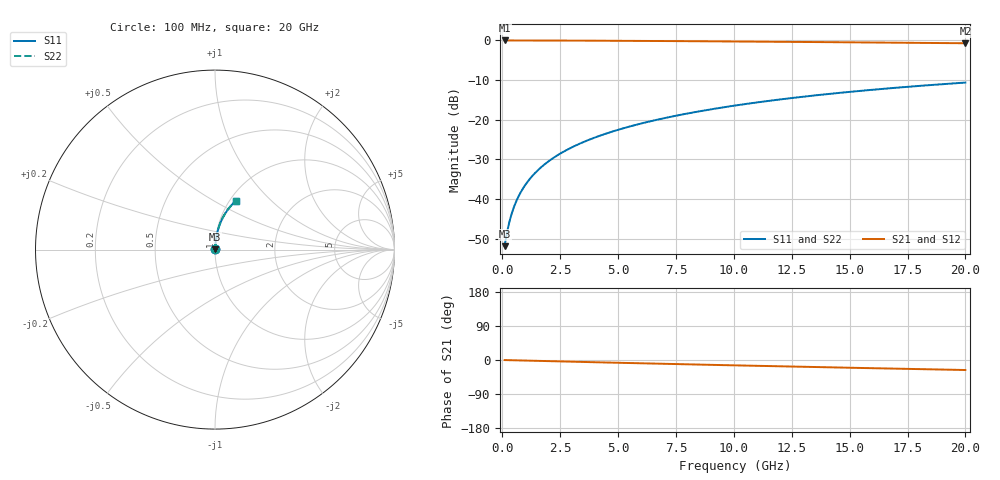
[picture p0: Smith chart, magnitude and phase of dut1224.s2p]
! Touchstone file exported from HFSS 2024.1.0
!  File:  C:/UserFiles/LocalFiles/RDL_TSV_Batchsim/temp_RDL_bottom_1224_1780244269.aedt
!  Generated:  12:20:19 AM Jun  1, 2026
!  Design:  RDL_bottom
!  Project:  temp_RDL_bottom_1224_1780244269
!  Setup:  Setup1
!  Solution:  Sweep
! Variables:
!  dtsv = 10.80580581um
!  hbump = 3um
!  htsv = 84.4um
!  ldown = 346.85um
!  lrdl = 100um
!  p = 40
!  p1 = 43.75um
!  rhole = 1um
!  t = 450um
!  tdown = 4.37um
!  trdl = 3.915915916um
!  wdown = 15.05um
!  wrdl = 20um
# GHz S MA R 50.000000
! Terminal data exported
! Port[1] = RDL1_T1
! Port[2] = RDL1_T2
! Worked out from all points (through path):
!   200 points, 100 MHz to 20 GHz, reference 50 ohm
!   highest |S21| = -0.02 dB at 100 MHz (marker M1); lowest = -0.7 dB at 20 GHz (marker M2)
!   group delay of S21, straight-line fit = 3.65 ps
!   lowest |S11| = -51.9 dB at 100 MHz (marker M3), VSWR 1.01, Z = 50.2 + j0.158 ohm
!   |S11| at or under -10 dB: start of sweep to end of sweep
!   |S22| runs from -51.9 to -10.6 dB; largest |S21 - S12| = 4e-15
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0.1  0.002536 38.2  0.998 -0.2  0.998 -0.2  0.002536 38.2
! Gamma 0 0 0 0
! Port Impedance 50 0 50 0
0.2  0.003718 56.4  0.9979 -0.3  0.9979 -0.3  0.003718 56.4
0.3  0.005056 65.1  0.9979 -0.5  0.9979 -0.5  0.005056 65.1
0.4  0.006445 70.2  0.9978 -0.6  0.9978 -0.6  0.006445 70.2
0.5  0.007862 73.5  0.9977 -0.8  0.9977 -0.8  0.007862 73.5
0.6  0.009296 75.8  0.9976 -0.9  0.9976 -0.9  0.009296 75.8
0.8  0.0122 78.8  0.9974 -1.2  0.9974 -1.2  0.0122 78.8
1.1  0.01659 81.2  0.9972 -1.7  0.9972 -1.7  0.01659 81.2
1.5  0.02249 82.8  0.9967 -2.2  0.9967 -2.2  0.02249 82.8
1.8  0.02692 83.4  0.9963 -2.7  0.9963 -2.7  0.02692 83.4
2.1  0.03136 83.8  0.9958 -3.1  0.9958 -3.1  0.03136 83.8
2.7  0.04025 84.1  0.9947 -4.0  0.9947 -4.0  0.04025 84.1
3.5  0.05213 84.0  0.9929 -5.2  0.9929 -5.2  0.05213 84.0
4.2  0.06254 83.8  0.991 -6.2  0.991 -6.2  0.06254 83.8
5  0.07449 83.3  0.9885 -7.3  0.9885 -7.3  0.07449 83.3
5.9  0.08799 82.7  0.9854 -8.6  0.9854 -8.6  0.08799 82.7
6.8  0.1015 82.0  0.9821 -9.8  0.9821 -9.8  0.1015 82.0
8.3  0.1242 80.6  0.9762 -11.9  0.9762 -11.9  0.1242 80.6
10.1  0.1515 78.7  0.9685 -14.2  0.9685 -14.2  0.1515 78.7
13.4  0.2008 74.9  0.9535 -18.4  0.9535 -18.4  0.2008 74.9
16.7  0.2485 70.9  0.9374 -22.5  0.9374 -22.5  0.2485 70.9
20  0.2937 67.0  0.9204 -26.4  0.9204 -26.4  0.2937 67.0
